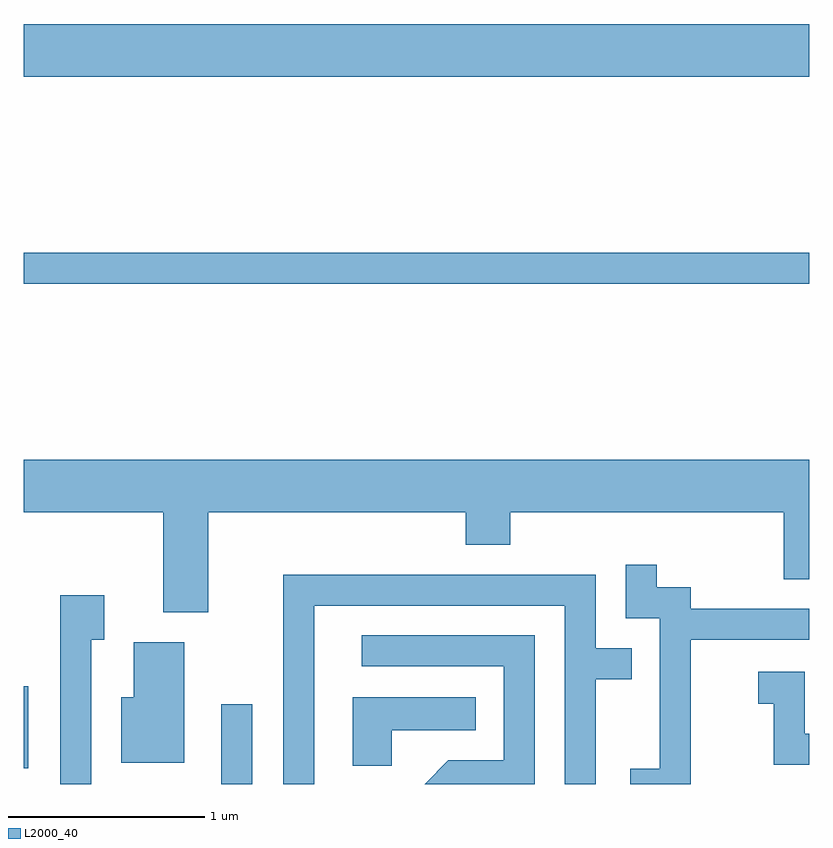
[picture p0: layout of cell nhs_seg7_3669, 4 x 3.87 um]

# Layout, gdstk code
import gdstk
lib = gdstk.Library(unit=1e-6, precision=1e-09)
def R(c, l, rs):  # rectangles x0, y0, x1, y1
    for r in rs: c.add(gdstk.rectangle(r[:2], r[2:], *l))
def P(c, l, *ps):  # polygons
    for p in ps: c.add(gdstk.Polygon(p, *l))
L2000_40 = (2000, 40)

nhs_seg7_3669 = lib.new_cell('nhs_seg7_3669')
R(nhs_seg7_3669, L2000_40, [(298.616,1726.252,298.774,1726.658), (297.611,1726.331,297.634,1726.749), (297.611,1728.801,301.611,1728.959), (297.611,1729.856,301.611,1730.124)])
P(nhs_seg7_3669, L2000_40, [(297.611,1727.636),(298.321,1727.636),(298.321,1727.126),(298.549,1727.126),(298.549,1727.636),(299.861,1727.636),(299.861,1727.471),(300.089,1727.471),(300.089,1727.636),(301.481,1727.636),(301.481,1727.296),(301.611,1727.296),(301.611,1727.904),(297.611,1727.904)],
  [(301.009,1726.986),(301.611,1726.986),(301.611,1727.144),(301.009,1727.144),(301.009,1727.254),(300.834,1727.254),(300.834,1727.368),(300.676,1727.368),(300.676,1727.096),(300.851,1727.096),(300.851,1726.329),(300.701,1726.329),(300.701,1726.252),(301.009,1726.252)],
  [(299.089,1727.161),(300.366,1727.161),(300.366,1726.252),(300.524,1726.252),(300.524,1726.786),(300.708,1726.786),(300.708,1726.944),(300.524,1726.944),(300.524,1727.319),(298.931,1727.319),(298.931,1726.252),(299.089,1726.252)],
  [(297.954,1726.986),(298.019,1726.986),(298.019,1727.214),(297.796,1727.214),(297.796,1726.252),(297.954,1726.252)],
  [(300.214,1727.009),(299.333,1727.009),(299.333,1726.851),(300.056,1726.851),(300.056,1726.374),(299.774,1726.374),(299.652,1726.252),(300.214,1726.252)],
  [(298.429,1726.974),(298.171,1726.974),(298.171,1726.694),(298.106,1726.694),(298.106,1726.361),(298.429,1726.361)],
  [(301.611,1726.509),(301.589,1726.509),(301.589,1726.824),(301.353,1726.824),(301.353,1726.661),(301.431,1726.661),(301.431,1726.351),(301.611,1726.351)],
  [(299.484,1726.526),(299.913,1726.526),(299.913,1726.694),(299.286,1726.694),(299.286,1726.346),(299.484,1726.346)])

lib.write_gds('nhs_seg7_3669.gds')
